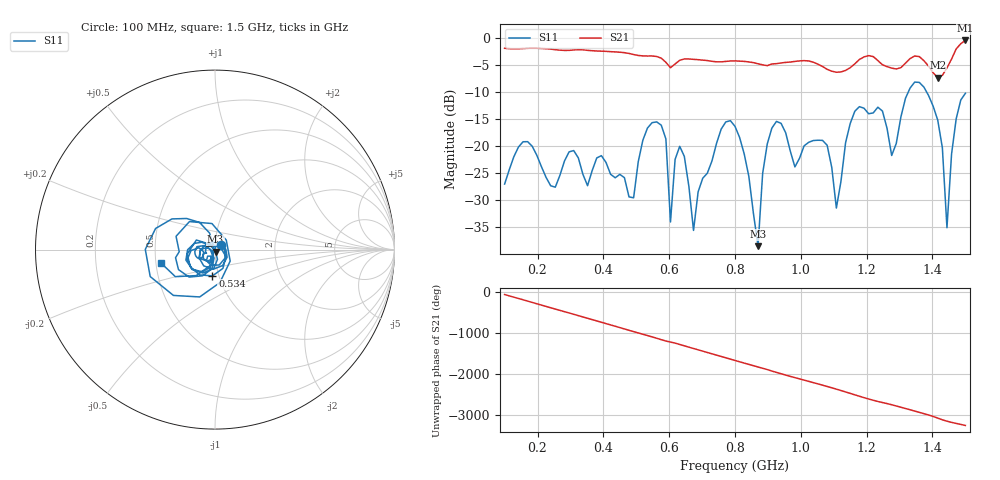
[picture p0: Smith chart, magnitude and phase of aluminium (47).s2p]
! NanoVNA-App
! Date: 2025-09-26 09:58:25
! Start: 100MHz Stop: 1,5GHz Points: 101
! S-Parameter data: F S11 S21 S12 S22
# Hz S RI R 50
!  Frequency  S11_Real  S11_Imag  S21_Real  S21_Imag  S12_Real  S12_Imag  S22_Real  S22_Imag
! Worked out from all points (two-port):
!   101 points, 100 MHz to 1.5 GHz, reference 50 ohm
!   highest |S21| = -0.47 dB at 1.5 GHz (marker M1); lowest = -7.4 dB at 1.416 GHz (marker M2)
!   |S21| within 3 dB of the highest: start of sweep to 563.7 MHz; 1.461 GHz to end of sweep (the widest 2 of 4)
!   lowest |S11| = -38.5 dB at 870 MHz (marker M3), VSWR 1.02, Z = 50.3 - j1.15 ohm
!   |S11| at or under -10 dB: start of sweep to 1.326 GHz; 1.382 GHz to end of sweep
!   S12 and S22 are empty: the file has one direction only
!   S11 on the Smith chart (normalised r, x): 100 MHz: 1.07, +0.06; 534 MHz: 0.93, -0.28; 1.5 GHz: 0.54, -0.09
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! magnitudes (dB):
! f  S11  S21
! 100 MHz  -27.0  -1.9
! 156 MHz  -19.2  -2.0
! 338 MHz  -25.2  -2.2
! 492 MHz  -29.5  -3.1
! 534 MHz  -16.6  -3.3
! 576 MHz  -16.1  -3.7
! 604 MHz  -34.0  -5.5
! 632 MHz  -20.0  -4.1
! 674 MHz  -35.5  -4.0
! 800 MHz  -16.3  -4.2
! 870 MHz  -38.5  -4.8
! 912 MHz  -16.7  -4.8
! 1.038 GHz  -18.9  -4.5
! 1.08 GHz  -19.8  -5.8
! 1.108 GHz  -31.4  -6.3
! 1.178 GHz  -12.7  -4.0
! 1.276 GHz  -21.7  -5.6
! 1.346 GHz  -8.2  -3.3
! 1.416 GHz  -15.2  -7.4
! 1.444 GHz  -35.0  -5.5
! 1.472 GHz  -14.9  -2.0
! 1.5 GHz  -10.2  -0.5
